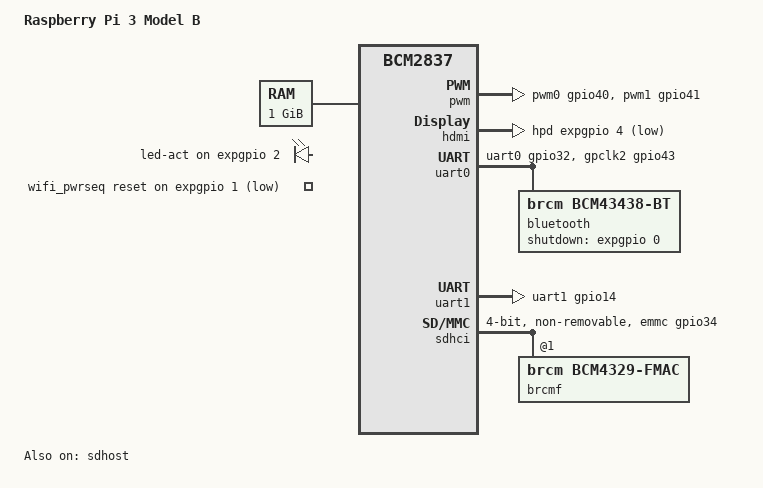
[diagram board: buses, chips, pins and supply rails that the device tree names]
// SPDX-License-Identifier: GPL-2.0
/dts-v1/;
#include "bcm2837.dtsi"
#include "bcm2836-rpi.dtsi"
#include "bcm283x-rpi-smsc9514.dtsi"
#include "bcm283x-rpi-usb-host.dtsi"

/ {
	compatible = "raspberrypi,3-model-b", "brcm,bcm2837";
	model = "Raspberry Pi 3 Model B";

	chosen {
		/* 8250 auxiliary UART instead of pl011 */
		stdout-path = "serial1:115200n8";
	};

	memory@0 {
		device_type = "memory";
		reg = <0 0x40000000>;
	};

	leds {
		led-act {
			gpios = <&expgpio 2 GPIO_ACTIVE_HIGH>;
		};
	};

	wifi_pwrseq: wifi-pwrseq {
		compatible = "mmc-pwrseq-simple";
		reset-gpios = <&expgpio 1 GPIO_ACTIVE_LOW>;
	};
};

&firmware {
	expgpio: gpio {
		compatible = "raspberrypi,firmware-gpio";
		gpio-controller;
		#gpio-cells = <2>;
		gpio-line-names = "BT_ON",
				  "WL_ON",
				  "STATUS_LED",
				  "LAN_RUN",
				  "HDMI_HPD_N",
				  "CAM_GPIO0",
				  "CAM_GPIO1",
				  "PWR_LOW_N";
		status = "okay";
	};
};

&gpio {
	/*
	 * Taken from rpi_SCH_3b_1p2_reduced.pdf and
	 * the official GPU firmware DT blob.
	 *
	 * Legend:
	 * "NC" = not connected (no rail from the SoC)
	 * "FOO" = GPIO line named "FOO" on the schematic
	 * "FOO_N" = GPIO line named "FOO" on schematic, active low
	 */
	gpio-line-names = "ID_SDA",
			  "ID_SCL",
			  "SDA1",
			  "SCL1",
			  "GPIO_GCLK",
			  "GPIO5",
			  "GPIO6",
			  "SPI_CE1_N",
			  "SPI_CE0_N",
			  "SPI_MISO",
			  "SPI_MOSI",
			  "SPI_SCLK",
			  "GPIO12",
			  "GPIO13",
			  /* Serial port */
			  "TXD1",
			  "RXD1",
			  "GPIO16",
			  "GPIO17",
			  "GPIO18",
			  "GPIO19",
			  "GPIO20",
			  "GPIO21",
			  "GPIO22",
			  "GPIO23",
			  "GPIO24",
			  "GPIO25",
			  "GPIO26",
			  "GPIO27",
			  "", /* GPIO 28 */
			  "LAN_RUN_BOOT",
			  /* Used by BT module */
			  "CTS0",
			  "RTS0",
			  "TXD0",
			  "RXD0",
			  /* Used by Wifi */
			  "SD1_CLK",
			  "SD1_CMD",
			  "SD1_DATA0",
			  "SD1_DATA1",
			  "SD1_DATA2",
			  "SD1_DATA3",
			  "PWM0_OUT",
			  "PWM1_OUT",
			  "ETHCLK",
			  "WIFI_CLK",
			  "SDA0",
			  "SCL0",
			  "SMPS_SCL",
			  "SMPS_SDA",
			  /* Used by SD Card */
			  "SD_CLK_R",
			  "SD_CMD_R",
			  "SD_DATA0_R",
			  "SD_DATA1_R",
			  "SD_DATA2_R",
			  "SD_DATA3_R";
};

&pwm {
	pinctrl-names = "default";
	pinctrl-0 = <&pwm0_gpio40 &pwm1_gpio41>;
	status = "okay";
};

&hdmi {
	hpd-gpios = <&expgpio 4 GPIO_ACTIVE_LOW>;
	power-domains = <&power RPI_POWER_DOMAIN_HDMI>;
	status = "okay";
};

/* uart0 communicates with the BT module */
&uart0 {
	pinctrl-names = "default";
	pinctrl-0 = <&uart0_gpio32 &gpclk2_gpio43>;
	status = "okay";

	bluetooth {
		compatible = "brcm,bcm43438-bt";
		max-speed = <2000000>;
		shutdown-gpios = <&expgpio 0 GPIO_ACTIVE_HIGH>;
	};
};

/* uart1 is mapped to the pin header */
&uart1 {
	pinctrl-names = "default";
	pinctrl-0 = <&uart1_gpio14>;
	status = "okay";
};

/* SDHCI is used to control the SDIO for wireless */
&sdhci {
	#address-cells = <1>;
	#size-cells = <0>;
	pinctrl-names = "default";
	pinctrl-0 = <&emmc_gpio34>;
	status = "okay";
	bus-width = <4>;
	non-removable;
	mmc-pwrseq = <&wifi_pwrseq>;

	brcmf: wifi@1 {
		reg = <1>;
		compatible = "brcm,bcm4329-fmac";
	};
};

/* SDHOST is used to drive the SD card */
&sdhost {
	pinctrl-names = "default";
	pinctrl-0 = <&sdhost_gpio48>;
	status = "okay";
	bus-width = <4>;
};
